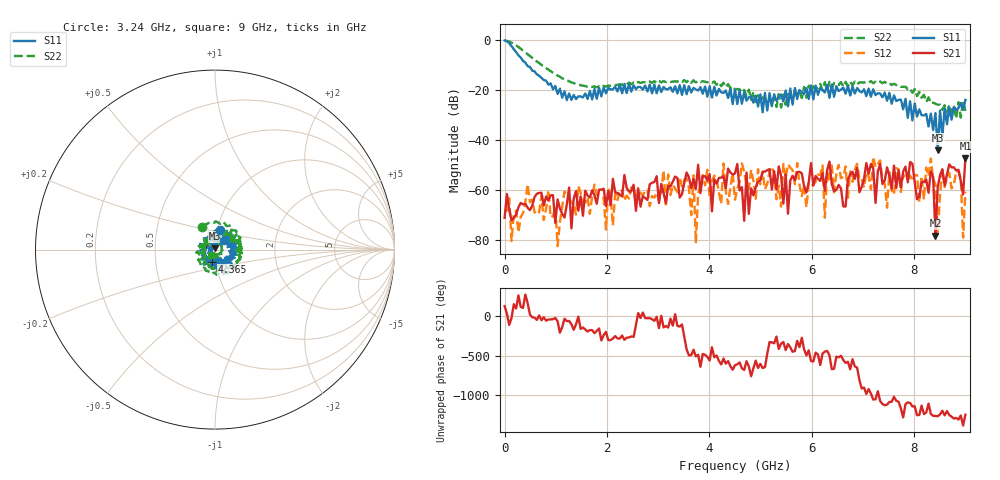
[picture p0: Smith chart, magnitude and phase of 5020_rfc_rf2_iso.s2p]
!Agilent Technologies,E8358A,US40210021,A.06.04.30
!Agilent E8358A: A.06.04.30
!Date: Saturday, April 21, 2018 14:28:28
!Correction: S11(Full 2 Port(1,2)) S21(Full 2 Port(1,2)) S12(Full 2 Port(1,2)) S22(Full 2 Port(1,2))
!S2P File: Measurements: S11, S21, S12, S22:
# Hz S  RI  R 50
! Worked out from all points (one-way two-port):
!   201 points, 300 kHz to 9 GHz, reference 50 ohm
!   highest |S21| = -47.15 dB at 9 GHz (marker M1); lowest = -78.1 dB at 8.415 GHz (marker M2)
!   lowest |S11| = -43.9 dB at 8.46 GHz (marker M3), VSWR 1.01, Z = 49.9 + j0.632 ohm
!   |S11| at or under -10 dB: 441 MHz to end of sweep
!   |S22| runs from -31.2 to 0.0 dB; largest |S21 - S12| = 0.0057
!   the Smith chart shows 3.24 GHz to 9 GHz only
!   S11 on the Smith chart (normalised r, x): 3.24 GHz: 1.03, +0.23; 4.365 GHz: 0.96, -0.13; 9 GHz: 1.08, +0.11
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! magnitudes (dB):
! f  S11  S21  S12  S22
! 300 kHz  0.0  -70.9  -68.5  0.0
! 1.53 GHz  -22.8  -70.1  -64.5  -18.1
! 3.015 GHz  -18.0  -65.0  -64.0  -16.1
! 3.24 GHz  -18.7  -58.4  -61.9  -16.6
! 3.69 GHz  -19.0  -55.3  -53.9  -15.9
! 3.735 GHz  -19.6  -59.4  -81.1  -16.8
! 3.87 GHz  -21.3  -54.4  -53.8  -16.2
! 4.365 GHz  -23.0  -51.3  -65.4  -17.5
! 4.5 GHz  -19.7  -53.2  -63.7  -19.6
! 4.68 GHz  -20.7  -72.1  -52.5  -19.8
! 4.725 GHz  -24.1  -52.8  -58.1  -22.3
! 4.77 GHz  -22.8  -69.4  -59.4  -19.6
! 6.03 GHz  -23.5  -58.0  -57.7  -18.4
! 7.515 GHz  -21.0  -54.2  -52.7  -17.0
! 8.1 GHz  -27.6  -62.3  -64.7  -20.6
! 8.325 GHz  -29.2  -52.4  -47.2  -25.2
! 8.415 GHz  -29.1  -78.1  -57.7  -25.3
! 8.46 GHz  -43.9  -58.6  -77.5  -25.7
! 8.55 GHz  -38.5  -51.6  -51.7  -27.8
! 8.91 GHz  -25.0  -56.3  -55.3  -30.8
! 8.955 GHz  -27.8  -61.6  -78.9  -24.2
! 9 GHz  -23.8  -47.1  -60.5  -28.2
